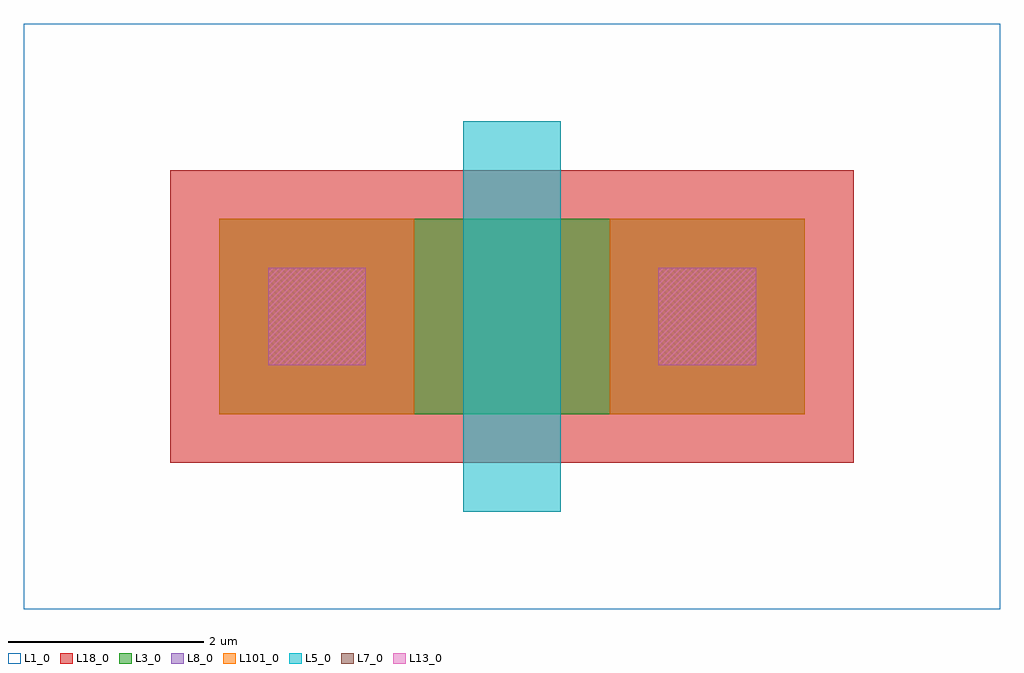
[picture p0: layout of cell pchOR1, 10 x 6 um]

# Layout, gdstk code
import gdstk
lib = gdstk.Library(unit=1e-6, precision=1e-09)
def R(c, l, rs):  # rectangles x0, y0, x1, y1
    for r in rs: c.add(gdstk.rectangle(r[:2], r[2:], *l))
L1_0 = (1, 0)
L3_0 = (3, 0)
L5_0 = (5, 0)
L7_0 = (7, 0)
L8_0 = (8, 0)
L13_0 = (13, 0)
L18_0 = (18, 0)
L101_0 = (101, 0)

dcont = lib.new_cell('dcont')
R(dcont, L3_0, [(-1,-1,1,1)])
R(dcont, L7_0, [(-0.5,-0.5,0.5,0.5)])
R(dcont, L8_0, [(-1,-1,1,1)])
R(dcont, L13_0, [(-0.5,-0.5,0.5,0.5)])
R(dcont, L101_0, [(-1,-1,1,1)])
dcont.add(gdstk.Label('dcont', (0,0), layer=13, texttype=0))

pchor1 = lib.new_cell('pchOR1')
R(pchor1, L1_0, [(-5,-3,5,3)])
R(pchor1, L3_0, [(-3,-1,3,1)])
R(pchor1, L5_0, [(-0.5,-2,0.5,2)])
R(pchor1, L8_0, [(-3,-1,-1,1), (1,-1,3,1)])
R(pchor1, L18_0, [(-3.5,-1.5,3.5,1.5)])
pchor1.add(gdstk.Reference(dcont, (-2,0)))
pchor1.add(gdstk.Reference(dcont, (2,0)))

lib.write_gds('pchOR1.gds')
